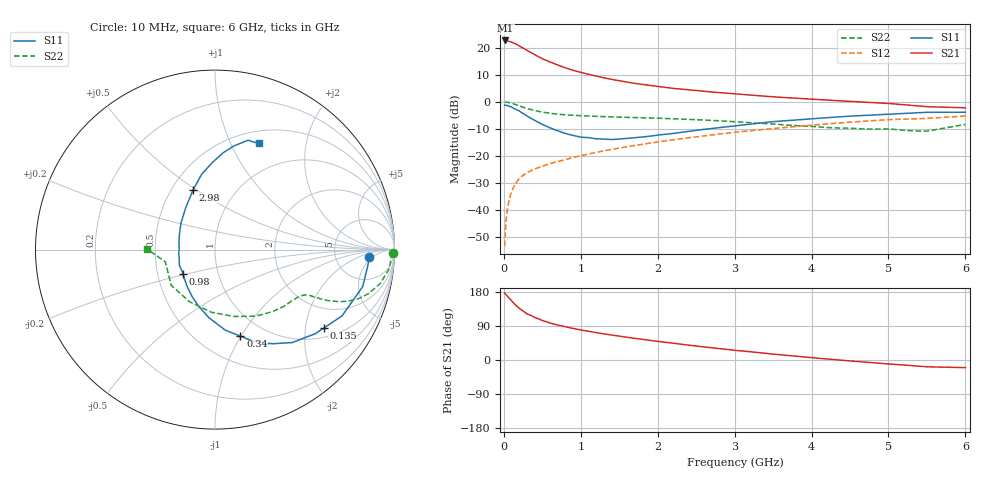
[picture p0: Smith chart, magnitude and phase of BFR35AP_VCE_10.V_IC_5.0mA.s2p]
! Infineon Technologies  Discrete & RF Semiconductors
! BFR35AP
! VCE =  10. V,  IC =  5.0 mA
! Common Emitter S-Parameters:  Nov 2015
# GHz  S  MA  R  50
!  f  S11  S21  S12  S22
! GHz  MAG  ANG  MAG  ANG  MAG  ANG  MAG  ANG
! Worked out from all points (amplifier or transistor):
!   210 points, 10 MHz to 6 GHz, reference 50 ohm
!   highest |S21| = 22.7 dB at 20 MHz (marker M1)
!   |S21| within 3 dB of that: start of sweep to 261 MHz
!   unconditionally stable (mu >= 1): 855.2 MHz to 2.927 GHz
!   at 185 MHz: K = 0.36, MSG = 25.0 dB, |S12| = -29.0 dB
!   at 1.52 GHz: K = 1.10, MAG = 10.4 dB, |S12| = -17.1 dB
!   at 6 GHz: K = 0.89, MSG = 1.5 dB, |S12| = -5.3 dB
!   S11 on the Smith chart (normalised r, x): 10 MHz: 12, -4; 135 MHz: 1.27, -2.52; 340 MHz: 0.77, -1.00; 980 MHz: 0.67, -0.19; 2.98 GHz: 0.64, +0.49; 6 GHz: 0.64, +1.28
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0.01  0.8614 -2.9  13.66 177.1  0.0021 83.5  0.9933 -1.1
0.02  0.857 -5.5  13.67 174.4  0.0041 86.8  0.9836 -2.4
0.05  0.8487 -14.0  13.4 167.6  0.011 83.4  0.9771 -6.2
0.1  0.7985 -27.5  12.77 156.3  0.0215 75.5  0.9408 -11.5
0.135  0.7465 -35.9  12.12 148.5  0.0274 71.1  0.9046 -14.6
0.16  0.7168 -41.8  11.68 143.3  0.0315 68.8  0.8801 -16.6
0.24  0.6175 -58.1  10.07 130.2  0.0423 63.4  0.802 -20.8
0.3  0.5432 -68.5  8.986 122.0  0.0484 61.3  0.7481 -22.8
0.34  0.5031 -73.6  8.343 118.6  0.0516 60.1  0.7229 -23.4
0.4  0.4521 -82.8  7.445 112.5  0.0565 58.5  0.6853 -24.4
0.5  0.3806 -95.2  6.258 104.2  0.0637 58.0  0.6411 -25.1
0.6  0.3286 -106.2  5.449 97.6  0.0712 58.2  0.6104 -25.5
0.8  0.2579 -126.9  4.25 87.3  0.0846 58.8  0.5711 -26.3
0.98  0.2234 -143.2  3.556 80.0  0.0982 59.5  0.5526 -27.4
1.02  0.2192 -147.4  3.437 78.5  0.1011 59.6  0.5492 -27.8
1.4  0.1993 178.0  2.594 65.8  0.1299 60.2  0.525 -31.5
2.02  0.2425 140.9  1.905 48.6  0.1814 58.1  0.4942 -40.2
2.98  0.3556 109.9  1.407 26.1  0.2691 51.4  0.4298 -59.5
3.1  0.3712 107.3  1.364 23.8  0.2802 50.0  0.4181 -62.6
4.1  0.4947 90.5  1.094 4.4  0.3772 39.5  0.3403 -97.6
5.1  0.5967 78.2  0.904 -11.8  0.4698 25.7  0.3042 -145.4
6  0.6394 67.6  0.771 -20.2  0.5431 14.8  0.3788 179.6
